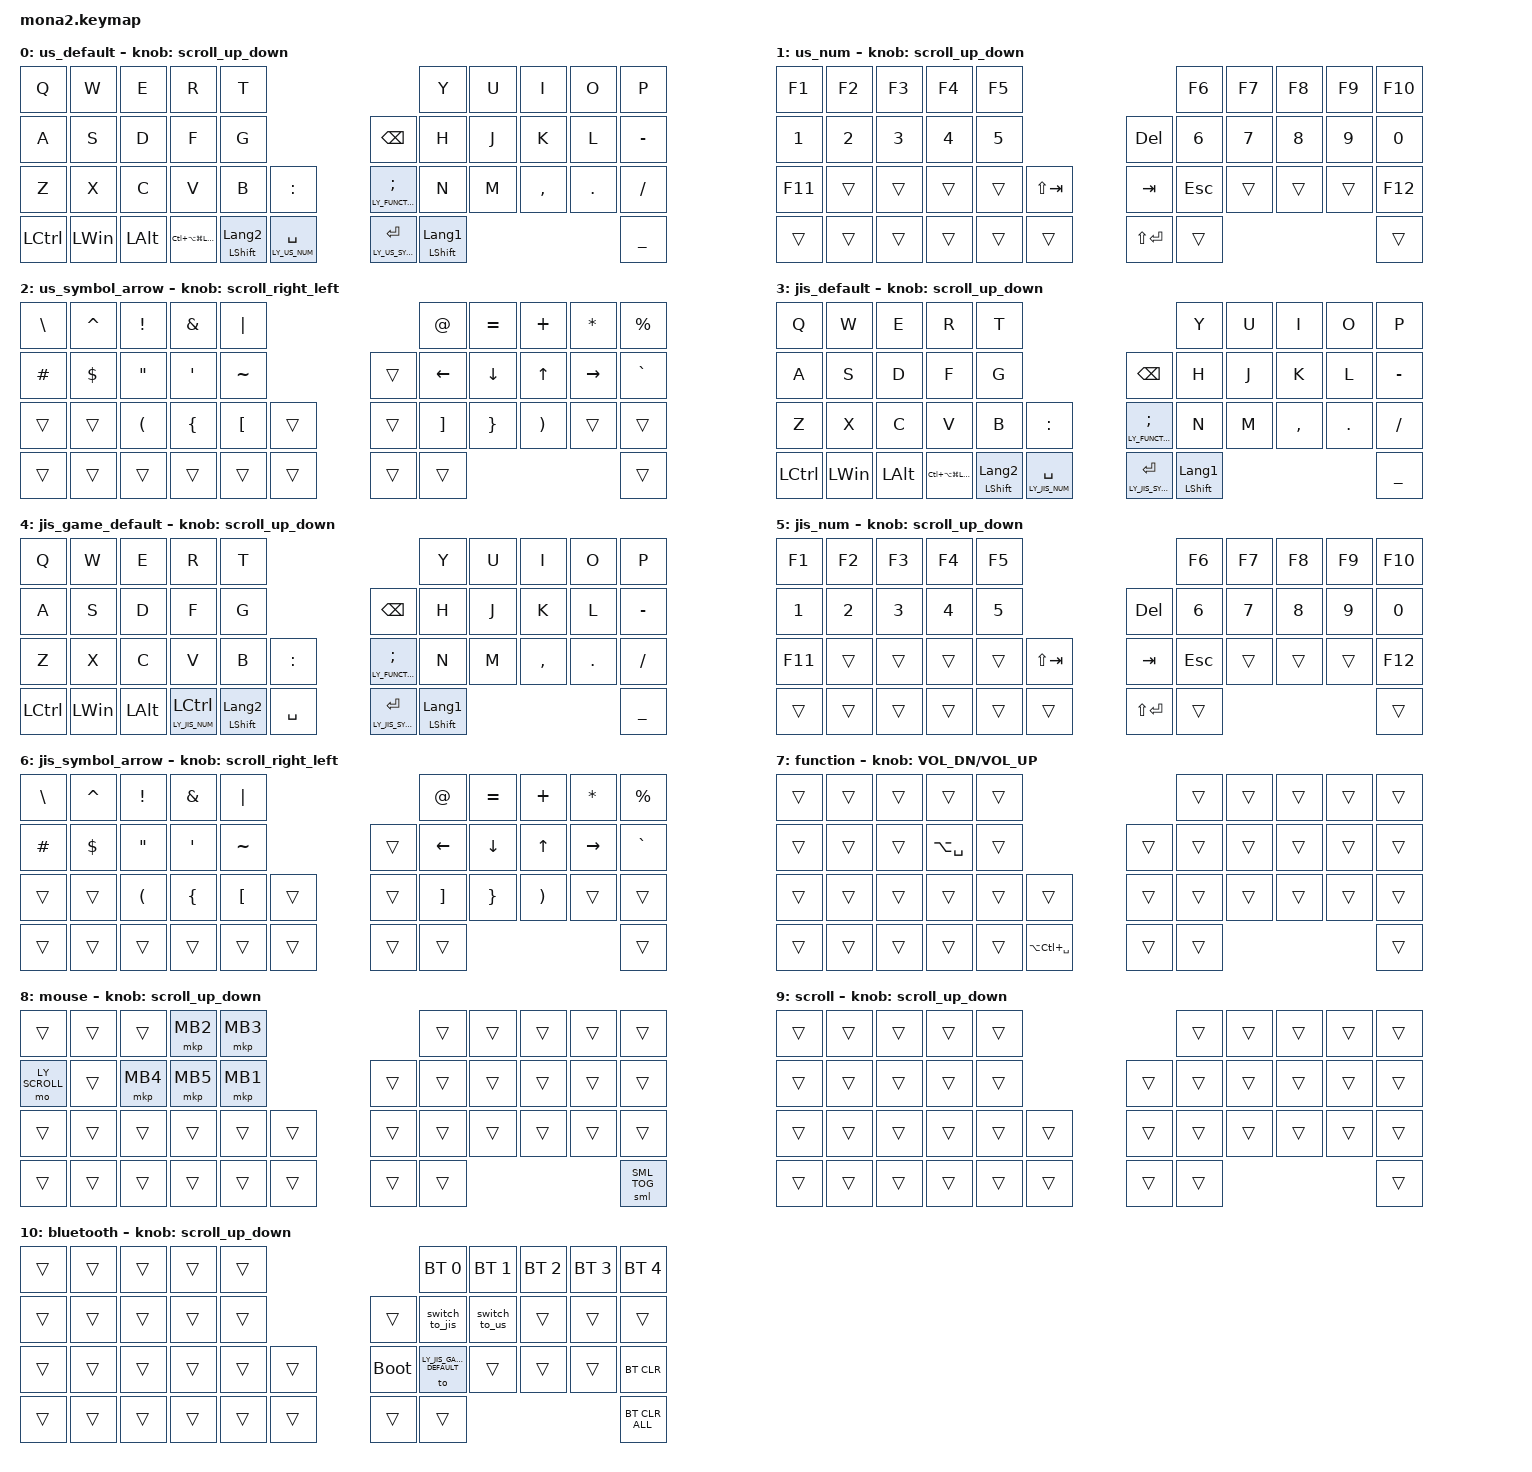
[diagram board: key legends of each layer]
#include <input/processors.dtsi>
#include <dt-bindings/zmk/input_transform.h>
#include <zephyr/dt-bindings/input/input-event-codes.h>
#include <behaviors.dtsi>
#include <dt-bindings/zmk/bt.h>
#include <dt-bindings/zmk/keys.h>
#include <dt-bindings/zmk/pointing.h>
#include <layout_shift_kp_override.dtsi>
#include <dt-bindings/zmk/smart_mouse_layer.h>

#define ZMK_POINTING_DEFAULT_SCRL_VAL 100
#define MOUSE 8
#define SCROLL 9

// レイヤー定義

#define LY_US_DEFAULT              0
#define LY_US_NUM                  1
#define LY_US_SYMBOL_ARROW         2
#define LY_JIS_DEFAULT             3
#define LY_JIS_GAME_DEFAULT        4
#define LY_JIS_NUM                 5
#define LY_JIS_SYMBOL_ARROW        6
#define LY_FUNCTION                7
#define LY_MOUSE                   8
#define LY_SCROLL                  9
#define LY_BLUETOOTH               10

&lt {
    flavor = "tap-preferred";
    quick-tap-ms = <175>;
    tapping-term-ms = <200>;
};

&mt {
    flavor = "tap-preferred";
    quick-tap-ms = <175>;
    tapping-term-ms = <200>;
};

/ {
    combos {
        compatible = "zmk,combos";

        bluetoothLayer {
            bindings = <&mo LY_BLUETOOTH>;
            key-positions = <0 1>;
        };

        layer4_ESC {
            bindings = <&lt 4 ESC>;
            key-positions = <39 38>;
        };

        tab {
            bindings = <&kp TAB>;
            key-positions = <11 12>;
        };
    };

    macros {
        to_layer_0: to_layer_0 {
            compatible = "zmk,behavior-macro-one-param";
            #binding-cells = <1>;
            bindings = <&to 0 &macro_param_1to1 &kp MACRO_PLACEHOLDER>;
            label = "TO_LAYER_0";
        };

        exit_AML: exit_AML {
            compatible = "zmk,behavior-macro";
            wait-ms = <0>;
            tap-ms = <0>;
            #binding-cells = <0>;
            bindings = <&tog_off MOUSE>;
            label = "exit_AML";
        };

        kp_exit_AML: kp_exit_AML {
            compatible = "zmk,behavior-macro-one-param";
            wait-ms = <0>;
            tap-ms = <0>;
            #binding-cells = <1>;
            bindings = <&macro_param_1to1 &kp MACRO_PLACEHOLDER &exit_AML>;
            label = "KP_exit_AML";
        };

        switch_to_jis: switch_to_jis {
            compatible = "zmk,behavior-macro";
            wait-ms = <0>;
            tap-ms = <0>;
            #binding-cells = <0>;
            bindings = <&tog_ls_on &to LY_JIS_DEFAULT>;
            label = "SWITCH_TO_JIS";
        };

        switch_to_us: switch_to_us {
            compatible = "zmk,behavior-macro";
            wait-ms = <0>;
            tap-ms = <0>;
            #binding-cells = <0>;
            bindings = <&tog_ls_off &to LY_US_DEFAULT>;
            label = "SWITCH_TO_US";
        };
    };

    behaviors {
        lt_to_layer_0: lt_to_layer_0 {
            compatible = "zmk,behavior-hold-tap";
            label = "LAYER_TAP_TO_0";
            bindings = <&mo>, <&to_layer_0>;

            #binding-cells = <2>;
            tapping-term-ms = <200>;
        };

        scroll_up_down: mouse_wheel_up_down {
            compatible = "zmk,behavior-sensor-rotate";
            #sensor-binding-cells = <0>;
            bindings = <&msc SCRL_DOWN>, <&msc SCRL_UP>;

            tap-ms = <20>;
        };

        scroll_right_left: mouse_wheel_right_left {
            compatible = "zmk,behavior-sensor-rotate";
            #sensor-binding-cells = <0>;
            bindings = <&msc SCRL_LEFT>, <&msc SCRL_RIGHT>;

            tap-ms = <20>;
        };

        tog_off: toggle_layer_off {
            compatible = "zmk,behavior-toggle-layer";
            #binding-cells = <1>;
            display-name = "Toggle Layer Off";
            toggle-mode = "off";
        };

        mt_exit_AML_on_tap: mt_exit_AML_on_tap {
            compatible = "zmk,behavior-hold-tap";
            label = "MT_exit_AML_ON_TAP";
            bindings = <&kp>, <&kp_exit_AML>;

            #binding-cells = <2>;
            tapping-term-ms = <200>;
            flavor = "balanced";
            quick-tap-ms = <200>;
        };
    };

    keymap {
        compatible = "zmk,keymap";

        us_default {
            bindings = <
&kp Q      &kp W         &kp E         &kp R                   &kp T                                                                           &kp Y                      &kp U  &kp I      &kp O    &kp P
&kp A      &kp S         &kp D         &kp F                   &kp G                                             &kp BACKSPACE                 &kp H                      &kp J  &kp K      &kp L    &kp MINUS
&kp Z      &kp X         &kp C         &kp V                   &kp B                      &kp COLON              &lt LY_FUNCTION SEMICOLON     &kp N                      &kp M  &kp COMMA  &kp DOT  &kp SLASH
&kp LCTRL  &kp LEFT_WIN  &kp LEFT_ALT  &kp LC(LA(LG(LSHIFT)))  &mt LEFT_SHIFT LANGUAGE_2  &lt LY_US_NUM SPACE    &lt LY_US_SYMBOL_ARROW ENTER  &mt LEFT_SHIFT LANGUAGE_1                             &kp UNDERSCORE
            >;

            sensor-bindings = <&scroll_up_down>;
        };

        us_num {
            bindings = <
&kp F1        &kp F2        &kp F3        &kp F4        &kp F5                                      &kp F6        &kp F7        &kp F8        &kp F9        &kp F10
&kp NUMBER_1  &kp NUMBER_2  &kp NUMBER_3  &kp NUMBER_4  &kp NUMBER_5                 &kp DELETE     &kp NUMBER_6  &kp NUMBER_7  &kp NUMBER_8  &kp NUMBER_9  &kp NUMBER_0
&kp F11       &trans        &trans        &trans        &trans        &kp LS(TAB)    &kp TAB        &kp ESCAPE    &trans        &trans        &trans        &kp F12
&trans        &trans        &trans        &trans        &trans        &trans         &kp LS(ENTER)  &trans                                                  &trans
            >;

            sensor-bindings = <&scroll_up_down>;
        };

        us_symbol_arrow {
            bindings = <
&kp BACKSLASH  &kp CARET   &kp EXCLAMATION       &kp AMPERSAND     &kp PIPE                            &kp AT             &kp EQUAL        &kp PLUS               &kp ASTERISK     &kp PERCENT
&kp HASH       &kp DOLLAR  &kp DOUBLE_QUOTES     &kp SINGLE_QUOTE  &kp TILDE                   &trans  &kp LEFT_ARROW     &kp DOWN_ARROW   &kp UP_ARROW           &kp RIGHT_ARROW  &kp GRAVE
&trans         &trans      &kp LEFT_PARENTHESIS  &kp LEFT_BRACE    &kp LEFT_BRACKET  &trans    &trans  &kp RIGHT_BRACKET  &kp RIGHT_BRACE  &kp RIGHT_PARENTHESIS  &trans           &trans
&trans         &trans      &trans                &trans            &trans            &trans    &trans  &trans                                                                      &trans
            >;

            sensor-bindings = <&scroll_right_left>;
        };

        jis_default {
            bindings = <
&kp Q      &kp W         &kp E         &kp R                   &kp T                                                                             &kp Y                      &kp U  &kp I      &kp O       &kp P
&kp A      &kp S         &kp D         &kp F                   &kp G                                              &kp BACKSPACE                  &kp H                      &kp J  &kp K      &kp L       &kp MINUS
&kp Z      &kp X         &kp C         &kp V                   &kp B                      &kp COLON               &lt LY_FUNCTION SEMICOLON      &kp N                      &kp M  &kp COMMA  &kp PERIOD  &kp SLASH
&kp LCTRL  &kp LEFT_WIN  &kp LEFT_ALT  &kp LC(LA(LG(LSHIFT)))  &mt LEFT_SHIFT LANGUAGE_2  &lt LY_JIS_NUM SPACE    &lt LY_JIS_SYMBOL_ARROW ENTER  &mt LEFT_SHIFT LANGUAGE_1                                &kp UNDERSCORE
            >;

            sensor-bindings = <&scroll_up_down>;
        };

        jis_game_default {
            bindings = <
&kp Q      &kp W         &kp E         &kp R                 &kp T                                                                             &kp Y                      &kp U  &kp I      &kp O       &kp P
&kp A      &kp S         &kp D         &kp F                 &kp G                                              &kp BACKSPACE                  &kp H                      &kp J  &kp K      &kp L       &kp MINUS
&kp Z      &kp X         &kp C         &kp V                 &kp B                      &kp COLON               &lt LY_FUNCTION SEMICOLON      &kp N                      &kp M  &kp COMMA  &kp PERIOD  &kp SLASH
&kp LCTRL  &kp LEFT_WIN  &kp LEFT_ALT  &lt LY_JIS_NUM LCTRL  &mt LEFT_SHIFT LANGUAGE_2  &kp SPACE               &lt LY_JIS_SYMBOL_ARROW ENTER  &mt LEFT_SHIFT LANGUAGE_1                                &kp UNDERSCORE
            >;

            sensor-bindings = <&scroll_up_down>;
        };

        jis_num {
            bindings = <
&kp F1        &kp F2        &kp F3        &kp F4        &kp F5                                      &kp F6        &kp F7        &kp F8        &kp F9        &kp F10
&kp NUMBER_1  &kp NUMBER_2  &kp NUMBER_3  &kp NUMBER_4  &kp NUMBER_5                 &kp DELETE     &kp NUMBER_6  &kp NUMBER_7  &kp NUMBER_8  &kp NUMBER_9  &kp NUMBER_0
&kp F11       &trans        &trans        &trans        &trans        &kp LS(TAB)    &kp TAB        &kp ESCAPE    &trans        &trans        &trans        &kp F12
&trans        &trans        &trans        &trans        &trans        &trans         &kp LS(ENTER)  &trans                                                  &trans
            >;

            sensor-bindings = <&scroll_up_down>;
        };

        jis_symbol_arrow {
            bindings = <
&kp BACKSLASH  &kp CARET   &kp EXCLAMATION       &kp AMPERSAND     &kp PIPE                            &kp AT_SIGN        &kp EQUAL        &kp PLUS               &kp ASTERISK     &kp PERCENT
&kp HASH       &kp DOLLAR  &kp DOUBLE_QUOTES     &kp SINGLE_QUOTE  &kp TILDE                   &trans  &kp LEFT_ARROW     &kp DOWN_ARROW   &kp UP_ARROW           &kp RIGHT_ARROW  &kp GRAVE
&trans         &trans      &kp LEFT_PARENTHESIS  &kp LEFT_BRACE    &kp LEFT_BRACKET  &trans    &trans  &kp RIGHT_BRACKET  &kp RIGHT_BRACE  &kp RIGHT_PARENTHESIS  &trans           &trans
&trans         &trans      &trans                &trans            &trans            &trans    &trans  &trans                                                                      &trans
            >;

            sensor-bindings = <&scroll_right_left>;
        };

        function {
            bindings = <
&trans  &trans  &trans  &trans         &trans                               &trans  &trans  &trans  &trans  &trans
&trans  &trans  &trans  &kp LA(SPACE)  &trans                       &trans  &trans  &trans  &trans  &trans  &trans
&trans  &trans  &trans  &trans         &trans  &trans               &trans  &trans  &trans  &trans  &trans  &trans
&trans  &trans  &trans  &trans         &trans  &kp LA(LC(SPACE))    &trans  &trans                          &trans
            >;

            sensor-bindings = <&inc_dec_kp C_VOL_DN C_VOL_UP>;
        };

        mouse {
            bindings = <
&trans         &trans  &trans    &mkp MB2  &mkp MB3                    &trans  &trans    &trans    &trans    &trans
&mo LY_SCROLL  &trans  &mkp MB4  &mkp MB5  &mkp MB1            &trans  &trans  &trans    &trans    &trans    &trans
&trans         &trans  &trans    &trans    &trans    &trans    &trans  &trans  &trans    &trans    &trans    &trans
&trans         &trans  &trans    &trans    &trans    &trans    &trans  &trans                                &sml SML_TOG
            >;

            sensor-bindings = <&scroll_up_down>;
        };

        scroll {
            bindings = <
&trans  &trans  &trans  &trans  &trans                    &trans  &trans  &trans  &trans  &trans
&trans  &trans  &trans  &trans  &trans            &trans  &trans  &trans  &trans  &trans  &trans
&trans  &trans  &trans  &trans  &trans  &trans    &trans  &trans  &trans  &trans  &trans  &trans
&trans  &trans  &trans  &trans  &trans  &trans    &trans  &trans                          &trans
            >;

            sensor-bindings = <&scroll_up_down>;
        };

        bluetooth {
            bindings = <
&trans  &trans  &trans  &trans  &trans                         &bt BT_SEL 0             &bt BT_SEL 1       &bt BT_SEL 2  &bt BT_SEL 3  &bt BT_SEL 4
&trans  &trans  &trans  &trans  &trans            &trans       &switch_to_jis           &switch_to_us      &trans        &trans        &trans
&trans  &trans  &trans  &trans  &trans  &trans    &bootloader  &to LY_JIS_GAME_DEFAULT  &trans             &trans        &trans        &bt BT_CLR
&trans  &trans  &trans  &trans  &trans  &trans    &trans       &trans                                                                  &bt BT_CLR_ALL
            >;

            sensor-bindings = <&scroll_up_down>;
        };
    };
};
